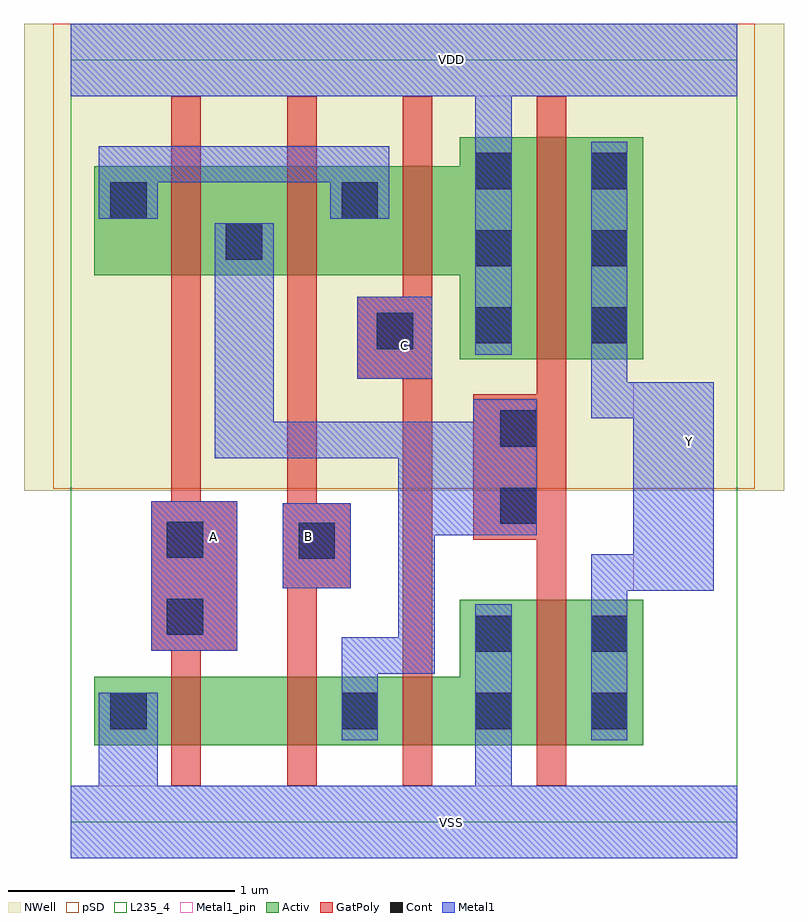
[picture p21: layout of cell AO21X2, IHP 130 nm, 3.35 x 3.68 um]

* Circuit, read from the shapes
.subckt AO21X2 A B C VDD VSS Y
XM1 n1 A VSS VSUBS sg13_lv_nmos w=0.3u l=0.13u
XM2 n2 B n1 VSUBS sg13_lv_nmos w=0.3u l=0.13u
XM3 VSS C n2 VSUBS sg13_lv_nmos w=0.3u l=0.13u
XM4 Y n2 VSS VSUBS sg13_lv_nmos w=0.64u l=0.13u
XM5 n2 A n3 n4 sg13_lv_pmos w=0.48u l=0.13u
XM6 n3 B n2 n4 sg13_lv_pmos w=0.48u l=0.13u
XM7 VDD C n3 n4 sg13_lv_pmos w=0.48u l=0.13u
XM8 Y n2 VDD n4 sg13_lv_pmos w=0.98u l=0.13u
.ends

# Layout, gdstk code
import gdstk
lib = gdstk.Library(unit=1e-6, precision=1e-09)
def R(c, l, rs):  # rectangles x0, y0, x1, y1
    for r in rs: c.add(gdstk.rectangle(r[:2], r[2:], *l))
def A(c, l, x, y, w, h, nx, ny, dx, dy):  # array of equal rectangles
    R(c, l, [(x+i*dx, y+j*dy, x+i*dx+w, y+j*dy+h) for i in range(nx) for j in range(ny)])
def P(c, l, *ps):  # polygons
    for p in ps: c.add(gdstk.Polygon(p, *l))
Activ = (1, 0)
GatPoly = (5, 0)
Cont = (6, 0)
Metal1 = (8, 0)
Metal1_pin = (8, 2)
pSD = (14, 0)
NWell = (31, 0)
L235_4 = (235, 4)

ao21x2 = lib.new_cell('AO21X2')
P(ao21x2, Activ, [(2.525,0.98),(1.715,0.98),(1.715,0.64),(0.105,0.64),(0.105,0.34),(2.525,0.34)],
  [(2.525,3.02),(1.715,3.02),(1.715,2.89),(0.105,2.89),(0.105,2.41),(1.715,2.41),(1.715,2.04),(2.525,2.04)])
P(ao21x2, GatPoly, [(1.595,3.2),(1.465,3.2),(1.465,2.315),(1.265,2.315),(1.265,1.955),(1.465,1.955),(1.465,0.16),(1.595,0.16)],
  [(1.235,1.405),(1.085,1.405),(1.085,3.2),(0.955,3.2),(0.955,1.405),(0.935,1.405),(0.935,1.03),(0.955,1.03),(0.955,0.16),(1.085,0.16),(1.085,1.03),(1.235,1.03)],
  [(0.735,1.415),(0.575,1.415),(0.575,3.2),(0.445,3.2),(0.445,1.415),(0.355,1.415),(0.355,0.755),(0.445,0.755),(0.445,0.16),(0.575,0.16),(0.575,0.755),(0.735,0.755)],
  [(2.185,3.2),(2.055,3.2),(2.055,1.885),(1.775,1.885),(1.775,1.245),(2.055,1.245),(2.055,0.16),(2.185,0.16)])
A(ao21x2, Cont, 1.785, 2.11, 0.16, 0.16, 1, 3, 0, 0.34)
A(ao21x2, Cont, 2.295, 2.11, 0.16, 0.16, 1, 3, 0, 0.34)
R(ao21x2, Cont, [(0.175,0.41,0.335,0.57), (1.195,0.41,1.355,0.57), (1.785,0.41,1.945,0.57), (2.295,0.41,2.455,0.57), (1.785,0.75,1.945,0.91), (2.295,0.75,2.455,0.91), (0.425,0.825,0.585,0.985), (1.005,1.16,1.165,1.32), (0.425,1.165,0.585,1.325), (1.895,1.315,2.055,1.475), (1.895,1.655,2.055,1.815), (1.35,2.085,1.51,2.245), (0.685,2.48,0.845,2.64), (0.175,2.66,0.335,2.82), (1.195,2.66,1.355,2.82)])
R(ao21x2, Metal1, [(0.355,0.755,0.735,1.415), (0.935,1.03,1.235,1.405), (1.265,1.955,1.595,2.315)])
P(ao21x2, Metal1, [(2.94,0.16),(1.945,0.16),(1.945,0.96),(1.785,0.96),(1.785,0.16),(0.385,0.16),(0.385,0.57),(0.125,0.57),(0.125,0.16),(0,0.16),(0,-0.16),(2.94,-0.16)],
  [(2.94,3.52),(0,3.52),(0,3.2),(1.785,3.2),(1.785,2.06),(1.945,2.06),(1.945,3.2),(2.94,3.2)],
  [(2.835,1.94),(2.455,1.94),(2.455,3),(2.295,3),(2.295,1.78),(2.48,1.78),(2.48,1.18),(2.295,1.18),(2.295,0.36),(2.455,0.36),(2.455,1.02),(2.835,1.02)],
  [(2.055,1.865),(1.775,1.865),(1.775,1.765),(0.895,1.765),(0.895,2.64),(0.635,2.64),(0.635,1.605),(1.445,1.605),(1.445,0.815),(1.195,0.815),(1.195,0.36),(1.355,0.36),(1.355,0.655),(1.605,0.655),(1.605,1.265),(2.055,1.265)],
  [(1.405,2.98),(0.125,2.98),(0.125,2.66),(0.385,2.66),(0.385,2.82),(1.145,2.82),(1.145,2.66),(1.405,2.66)])
R(ao21x2, Metal1_pin, [(0,-0.16,2.94,0.16), (0,-0.16,2.94,0.16), (0.355,0.755,0.735,1.415), (2.48,1.02,2.835,1.94), (0.935,1.03,1.235,1.405), (1.265,1.955,1.595,2.315), (0,3.2,2.94,3.52), (0,3.2,2.94,3.52)])
R(ao21x2, pSD, [(-0.075,1.47,3.015,3.52)])
R(ao21x2, NWell, [(-0.205,1.46,3.145,3.52)])
R(ao21x2, L235_4, [(0,0,2.94,3.36)])
ao21x2.add(gdstk.Label('VSS', (1.68,0), layer=8, texttype=25))
ao21x2.add(gdstk.Label('A', (0.63,1.26), layer=8, texttype=25))
ao21x2.add(gdstk.Label('VDD', (1.68,3.36), layer=8, texttype=25))
ao21x2.add(gdstk.Label('C', (1.47,2.1), layer=8, texttype=25))
ao21x2.add(gdstk.Label('Y', (2.73,1.68), layer=8, texttype=25))
ao21x2.add(gdstk.Label('B', (1.05,1.26), layer=8, texttype=25))

lib.write_gds('AO21X2.gds')
